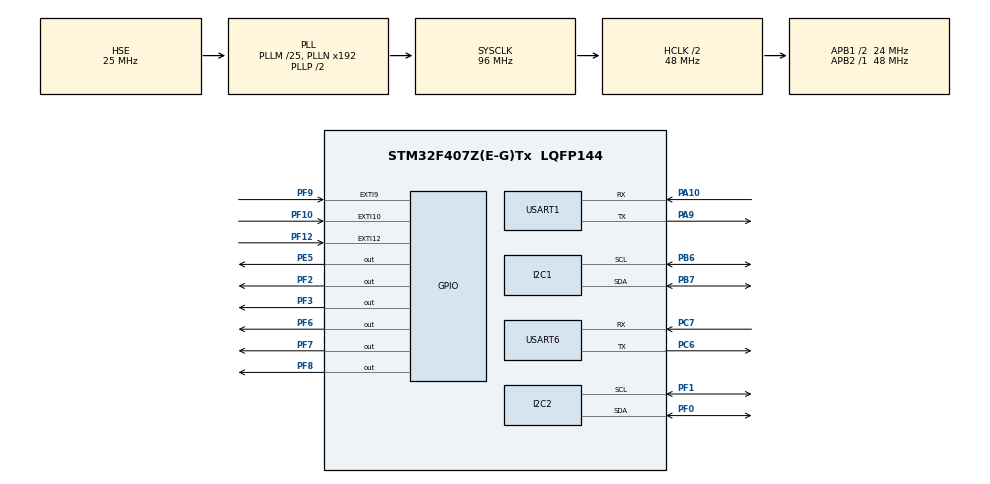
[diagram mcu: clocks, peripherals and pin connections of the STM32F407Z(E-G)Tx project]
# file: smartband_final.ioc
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I2C2.DutyCycle=I2C_DUTYCYCLE_16_9
I2C2.I2C_Mode=I2C_Fast
I2C2.NoStretchMode=I2C_NOSTRETCH_DISABLE
Mcu.Family=STM32F4
Mcu.Name=STM32F407Z(E-G)Tx
Mcu.Package=LQFP144
NVIC.EXTI15_10_IRQn=true\:0\:0\:false\:false\:true\:true\:true
NVIC.EXTI9_5_IRQn=true\:0\:0\:false\:false\:true\:true\:true
NVIC.I2C1_ER_IRQn=true\:0\:0\:true\:false\:true\:true\:true
NVIC.I2C1_EV_IRQn=true\:0\:0\:true\:false\:true\:true\:true
NVIC.I2C2_ER_IRQn=true\:0\:0\:true\:false\:true\:true\:true
NVIC.I2C2_EV_IRQn=true\:0\:0\:true\:false\:true\:true\:true
NVIC.PriorityGroup=NVIC_PRIORITYGROUP_4
NVIC.USART1_IRQn=true\:0\:0\:false\:false\:true\:true\:true
NVIC.USART6_IRQn=true\:0\:0\:false\:false\:true\:true\:true
PA10.Mode=Asynchronous
PA10.Signal=USART1_RX
PA13.Mode=Serial_Wire
PA13.Signal=SYS_JTMS-SWDIO
PA14.Mode=Serial_Wire
PA14.Signal=SYS_JTCK-SWCLK
PA9.Mode=Asynchronous
PA9.Signal=USART1_TX
PB6.Mode=I2C
PB6.Signal=I2C1_SCL
PB7.Mode=I2C
PB7.Signal=I2C1_SDA
PC14-OSC32_IN.Mode=LSE-External-Oscillator
PC14-OSC32_IN.Signal=RCC_OSC32_IN
PC15-OSC32_OUT.Mode=LSE-External-Oscillator
PC15-OSC32_OUT.Signal=RCC_OSC32_OUT
PC6.Mode=Asynchronous
PC6.Signal=USART6_TX
PC7.Mode=Asynchronous
PC7.Signal=USART6_RX
PE5.PinState=GPIO_PIN_SET
PE5.Signal=GPIO_Output
PF0.GPIO_PuPdOD=GPIO_PULLUP
PF0.Mode=I2C
PF0.Signal=I2C2_SDA
PF1.GPIO_PuPdOD=GPIO_PULLUP
PF1.Mode=I2C
PF1.Signal=I2C2_SCL
PF10.GPIO_PuPd=GPIO_PULLUP
PF10.Signal=GPXTI10
PF12.GPIO_ModeDefaultEXTI=GPIO_MODE_IT_FALLING
PF12.Signal=GPXTI12
PF2.GPIO_PuPd=GPIO_PULLDOWN
PF2.Signal=GPIO_Output
PF3.GPIO_ModeDefaultOutputPP=GPIO_MODE_OUTPUT_PP
PF3.PinState=GPIO_PIN_SET
PF3.Signal=GPIO_Output
PF6.GPIO_PuPd=GPIO_PULLUP
PF6.PinState=GPIO_PIN_SET
PF6.Signal=GPIO_Output
PF7.GPIO_PuPd=GPIO_PULLUP
PF7.PinState=GPIO_PIN_SET
PF7.Signal=GPIO_Output
PF8.GPIO_PuPd=GPIO_PULLUP
PF8.PinState=GPIO_PIN_SET
PF8.Signal=GPIO_Output
PF9.GPIO_PuPd=GPIO_PULLUP
PF9.Signal=GPXTI9
PH0-OSC_IN.Mode=HSE-External-Oscillator
PH0-OSC_IN.Signal=RCC_OSC_IN
PH1-OSC_OUT.Mode=HSE-External-Oscillator
PH1-OSC_OUT.Signal=RCC_OSC_OUT
ProjectManager.HeapSize=0x200
ProjectManager.StackSize=0x400
ProjectManager.TargetToolchain=TrueSTUDIO
RCC.48MHZClocksFreq_Value=48000000
RCC.AHBCLKDivider=RCC_SYSCLK_DIV2
RCC.AHBFreq_Value=48000000
RCC.APB1CLKDivider=RCC_HCLK_DIV2
RCC.APB1Freq_Value=24000000
RCC.APB1TimFreq_Value=48000000
RCC.APB2Freq_Value=48000000
RCC.APB2TimFreq_Value=48000000
RCC.CortexFreq_Value=48000000
RCC.HCLKFreq_Value=48000000
RCC.HSE_VALUE=25000000
RCC.HSI_VALUE=16000000
RCC.PLLM=25
RCC.PLLSourceVirtual=RCC_PLLSOURCE_HSE
RCC.SYSCLKFreq_VALUE=96000000
RCC.SYSCLKSource=RCC_SYSCLKSOURCE_PLLCLK
RCC.VCOOutputFreq_Value=192000000
USART1.VirtualMode=VM_ASYNC
USART6.VirtualMode=VM_ASYNC
board=custom

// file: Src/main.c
/* USER CODE BEGIN Header */
/**
  ******************************************************************************
  * @file           : main.c
  * @brief          : Main program body
  ******************************************************************************
  * @attention
  *
  * <h2><center>&copy; Copyright (c) 2019 STMicroelectronics.
  * All rights reserved.</center></h2>
  *
  * This software component is licensed by ST under BSD 3-Clause license,
  * the "License"; You may not use this file except in compliance with the
  * License. You may obtain a copy of the License at:
  *                        opensource.org/licenses/BSD-3-Clause
  *
  ******************************************************************************
  */
/* USER CODE END Header */

#include "main.h"
#include "i2c.h"
#include "usart.h"
#include "gpio.h"

/* USER CODE BEGIN PTD */
#ifdef __GNUC__
#define PUTCHAR_PROTOTYPE int __io_putchar(int ch)
#else
#define PUTCHAR_PROTOTYPE int fputc(int ch, FILE *f)
#endif
PUTCHAR_PROTOTYPE
{

	if('\n' == ch)
	{
		int ch_tmp = '\r';

		HAL_UART_Transmit(&huart1, (uint8_t *)&ch_tmp, 1, 0xFFFF);
	}

	HAL_UART_Transmit(&huart1, (uint8_t *)&ch, 1, 0xFFFF);

	return ch;
}

/* USER CODE END PTD */

/* USER CODE BEGIN PV */
MPU9250_t MPU9250;
float filtered_Az;
TM_AHRSIMU_t IMU;
char UartBuffer[32];
int gyro_onoff = 0;
int hr_flag = 0;
int flag = 0;
int operation = 0;
int fall_flag = 0;
uint32_t tickstart1;
uint32_t tickstart2;
int fflag = 0;

void I2C2_ClearBusyFlagErratum(I2C_HandleTypeDef *instance, I2C_HandleTypeDef* instance2)
{
    GPIO_InitTypeDef GPIO_InitStruct;
	GPIO_InitTypeDef GPIO_InitStruct2;
    int timeout =100;
    int timeout_cnt=0;
    HAL_GPIO_WritePin(GPIOF, GPIO_PIN_2, GPIO_PIN_SET);
    // 1. Clear PE bit.
    instance->Instance->CR1 &= ~(0x0001);
	instance2->Instance->CR1 &= ~(0x0001);
	//HAL_UART_Transmit(&huart1, (uint8_t *)"1\n", strlen("1\n"), 0xFFFF);
    //  2. Configure the SCL and SDA I/Os as General Purpose Output Open-Drain, High level (Write 1 to GPIOx_ODR).
    GPIO_InitStruct.Mode         = GPIO_MODE_OUTPUT_OD;
    GPIO_InitStruct.Alternate    = GPIO_AF4_I2C1;
    GPIO_InitStruct.Pull         = GPIO_PULLUP;
    GPIO_InitStruct.Speed        = GPIO_SPEED_FREQ_HIGH;
	GPIO_InitStruct2.Mode         = GPIO_MODE_OUTPUT_OD;
    GPIO_InitStruct2.Alternate    = GPIO_AF4_I2C2;
    GPIO_InitStruct2.Pull         = GPIO_PULLUP;
    GPIO_InitStruct2.Speed        = GPIO_SPEED_FREQ_HIGH;

    GPIO_InitStruct.Pin          = I2C1_SCL_PIN;
    HAL_GPIO_Init(I2C1_SCL_PORT, &GPIO_InitStruct);
    HAL_GPIO_WritePin(I2C1_SCL_PORT, I2C1_SCL_PIN, GPIO_PIN_SET);
    GPIO_InitStruct.Pin          = I2C1_SDA_PIN;
    HAL_GPIO_Init(I2C1_SDA_PORT, &GPIO_InitStruct);
    HAL_GPIO_WritePin(I2C1_SDA_PORT, I2C1_SDA_PIN, GPIO_PIN_SET);
    GPIO_InitStruct2.Pin          = I2C2_SCL_PIN;
    HAL_GPIO_Init(I2C2_SCL_PORT, &GPIO_InitStruct2);
    HAL_GPIO_WritePin(I2C2_SCL_PORT, I2C2_SCL_PIN, GPIO_PIN_SET);
    GPIO_InitStruct2.Pin          = I2C2_SDA_PIN;
    HAL_GPIO_Init(I2C2_SDA_PORT, &GPIO_InitStruct2);
    HAL_GPIO_WritePin(I2C2_SDA_PORT, I2C2_SDA_PIN, GPIO_PIN_SET);

    //HAL_UART_Transmit(&huart1, (uint8_t *)"2\n", strlen("1\n"), 0xFFFF);
    // 3. Check SCL and SDA High level in GPIOx_IDR.
    while (GPIO_PIN_SET != HAL_GPIO_ReadPin(I2C1_SCL_PORT, I2C1_SCL_PIN))
    {
        timeout_cnt++;
        if(timeout_cnt>timeout)
            return;
    }
	while (GPIO_PIN_SET != HAL_GPIO_ReadPin(I2C2_SCL_PORT, I2C2_SCL_PIN))
    {
        timeout_cnt++;
        if(timeout_cnt>timeout)
            return;
    }

    while (GPIO_PIN_SET != HAL_GPIO_ReadPin(I2C1_SDA_PORT, I2C1_SDA_PIN))
    {
        //Move clock to release I2C
        HAL_GPIO_WritePin(I2C1_SCL_PORT, I2C1_SCL_PIN, GPIO_PIN_RESET);
        asm("nop");
        HAL_GPIO_WritePin(I2C1_SCL_PORT, I2C1_SCL_PIN, GPIO_PIN_SET);

        timeout_cnt++;
        if(timeout_cnt>timeout)
            return;
    }
    while (GPIO_PIN_SET != HAL_GPIO_ReadPin(I2C2_SDA_PORT, I2C2_SDA_PIN))
    {
        //Move clock to release I2C
        HAL_GPIO_WritePin(I2C2_SCL_PORT, I2C2_SCL_PIN, GPIO_PIN_RESET);
        asm("nop");
        HAL_GPIO_WritePin(I2C2_SCL_PORT, I2C2_SCL_PIN, GPIO_PIN_SET);

        timeout_cnt++;
        if(timeout_cnt>timeout)
            return;
    }
    //HAL_UART_Transmit(&huart1, (uint8_t *)"3\n", strlen("1\n"), 0xFFFF);
    // 4. Configure the SDA I/O as General Purpose Output Open-Drain, Low level (Write 0 to GPIOx_ODR).
    HAL_GPIO_WritePin(I2C1_SDA_PORT, I2C1_SDA_PIN, GPIO_PIN_RESET);
	HAL_GPIO_WritePin(I2C2_SDA_PORT, I2C2_SDA_PIN, GPIO_PIN_RESET);
	//HAL_UART_Transmit(&huart1, (uint8_t *)"4\n", strlen("1\n"), 0xFFFF);
    //  5. Check SDA Low level in GPIOx_IDR.
    while (GPIO_PIN_RESET != HAL_GPIO_ReadPin(I2C1_SDA_PORT, I2C1_SDA_PIN))
    {
        timeout_cnt++;
        if(timeout_cnt>timeout)
            return;
    }
	while (GPIO_PIN_RESET != HAL_GPIO_ReadPin(I2C2_SDA_PORT, I2C2_SDA_PIN))
    {
        timeout_cnt++;
        if(timeout_cnt>timeout)
            return;
    }
    //HAL_UART_Transmit(&huart1, (uint8_t *)"5\n", strlen("1\n"), 0xFFFF);
    // 6. Configure the SCL I/O as General Purpose Output Open-Drain, Low level (Write 0 to GPIOx_ODR).
    HAL_GPIO_WritePin(I2C1_SCL_PORT, I2C1_SCL_PIN, GPIO_PIN_RESET);
	HAL_GPIO_WritePin(I2C2_SCL_PORT, I2C2_SCL_PIN, GPIO_PIN_RESET);
	//HAL_UART_Transmit(&huart1, (uint8_t *)"6\n", strlen("1\n"), 0xFFFF);
    //  7. Check SCL Low level in GPIOx_IDR.
    while (GPIO_PIN_RESET != HAL_GPIO_ReadPin(I2C1_SCL_PORT, I2C1_SCL_PIN))
    {
        timeout_cnt++;
        if(timeout_cnt>timeout)
            return;
    }
    while (GPIO_PIN_RESET != HAL_GPIO_ReadPin(I2C2_SCL_PORT, I2C2_SCL_PIN))
    {
        timeout_cnt++;
        if(timeout_cnt>timeout)
            return;
    }
    //HAL_UART_Transmit(&huart1, (uint8_t *)"7\n", strlen("1\n"), 0xFFFF);
    // 8. Configure the SCL I/O as General Purpose Output Open-Drain, High level (Write 1 to GPIOx_ODR).
    HAL_GPIO_WritePin(I2C1_SCL_PORT, I2C1_SCL_PIN, GPIO_PIN_SET);
	HAL_GPIO_WritePin(I2C2_SCL_PORT, I2C2_SCL_PIN, GPIO_PIN_SET);
	//HAL_UART_Transmit(&huart1, (uint8_t *)"8\n", strlen("1\n"), 0xFFFF);
    // 9. Check SCL High level in GPIOx_IDR.
    while (GPIO_PIN_SET != HAL_GPIO_ReadPin(I2C1_SCL_PORT, I2C1_SCL_PIN))
    {
        timeout_cnt++;
        if(timeout_cnt>timeout)
            return;
    }
    while (GPIO_PIN_SET != HAL_GPIO_ReadPin(I2C2_SCL_PORT, I2C2_SCL_PIN))
    {
        timeout_cnt++;
        if(timeout_cnt>timeout)
            return;
    }
    //HAL_UART_Transmit(&huart1, (uint8_t *)"9\n", strlen("1\n"), 0xFFFF);
    // 10. Configure the SDA I/O as General Purpose Output Open-Drain , High level (Write 1 to GPIOx_ODR).
    HAL_GPIO_WritePin(I2C1_SDA_PORT, I2C1_SDA_PIN, GPIO_PIN_SET);
	HAL_GPIO_WritePin(I2C2_SDA_PORT, I2C2_SDA_PIN, GPIO_PIN_SET);
	//HAL_UART_Transmit(&huart1, (uint8_t *)"10\n", strlen("10\n"), 0xFFFF);
    // 11. Check SDA High level in GPIOx_IDR.

	/*
    while (GPIO_PIN_SET != HAL_GPIO_ReadPin(I2C1_SDA_PORT, I2C1_SDA_PIN))
    {
        timeout_cnt++;
        if(timeout_cnt>timeout){
        	return;
        }
    }
    while (GPIO_PIN_SET != HAL_GPIO_ReadPin(I2C2_SDA_PORT, I2C2_SDA_PIN))
    {
        timeout_cnt++;
        if(timeout_cnt>timeout){
            printf("timeout\n");
        	return;
        }
    }*/

    while (GPIO_PIN_SET != HAL_GPIO_ReadPin(I2C1_SDA_PORT, I2C1_SDA_PIN))
    {
        //Move clock to release I2C
        HAL_GPIO_WritePin(I2C1_SCL_PORT, I2C1_SCL_PIN, GPIO_PIN_RESET);
        asm("nop");
        HAL_GPIO_WritePin(I2C1_SCL_PORT, I2C1_SCL_PIN, GPIO_PIN_SET);

        timeout_cnt++;
        if(timeout_cnt>timeout)
            return;
    }
    while (GPIO_PIN_SET != HAL_GPIO_ReadPin(I2C2_SDA_PORT, I2C2_SDA_PIN))
    {
        //Move clock to release I2C
        HAL_GPIO_WritePin(I2C2_SCL_PORT, I2C2_SCL_PIN, GPIO_PIN_RESET);
        asm("nop");
        HAL_GPIO_WritePin(I2C2_SCL_PORT, I2C2_SCL_PIN, GPIO_PIN_SET);

        timeout_cnt++;
        if(timeout_cnt>timeout)
            return;
    }

    //HAL_UART_Transmit(&huart1, (uint8_t *)"11\n", strlen("10\n"), 0xFFFF);
    // 12. Configure the SCL and SDA I/Os as Alternate function Open-Drain.
    GPIO_InitStruct.Mode = GPIO_MODE_AF_OD;
    GPIO_InitStruct.Pull = GPIO_PULLUP;
    GPIO_InitStruct.Speed = GPIO_SPEED_FREQ_LOW;
    GPIO_InitStruct.Alternate = GPIO_AF4_I2C1;
	GPIO_InitStruct2.Mode = GPIO_MODE_AF_OD;
    GPIO_InitStruct2.Pull = GPIO_PULLUP;
    GPIO_InitStruct2.Speed = GPIO_SPEED_FREQ_LOW;
    GPIO_InitStruct2.Alternate = GPIO_AF4_I2C2;

    GPIO_InitStruct.Pin = I2C1_SCL_PIN;
    HAL_GPIO_Init(I2C1_SCL_PORT, &GPIO_InitStruct);
    GPIO_InitStruct.Pin = I2C1_SDA_PIN;
    HAL_GPIO_Init(I2C1_SDA_PORT, &GPIO_InitStruct);
	GPIO_InitStruct2.Pin = I2C2_SCL_PIN;
    HAL_GPIO_Init(I2C2_SCL_PORT, &GPIO_InitStruct2);
    GPIO_InitStruct2.Pin = I2C2_SDA_PIN;
    HAL_GPIO_Init(I2C2_SDA_PORT, &GPIO_InitStruct2);

    HAL_GPIO_WritePin(I2C1_SCL_PORT, I2C1_SCL_PIN, GPIO_PIN_SET);
    HAL_GPIO_WritePin(I2C1_SDA_PORT, I2C1_SDA_PIN, GPIO_PIN_SET);
	HAL_GPIO_WritePin(I2C2_SCL_PORT, I2C2_SCL_PIN, GPIO_PIN_SET);
    HAL_GPIO_WritePin(I2C2_SDA_PORT, I2C2_SDA_PIN, GPIO_PIN_SET);
    //HAL_UART_Transmit(&huart1, (uint8_t *)"12\n", strlen("10\n"), 0xFFFF);
    // 13. Set SWRST bit in I2Cx_CR1 register.
    instance->Instance->CR1 |= 0x8000;
	instance2->Instance->CR1 |= 0x8000;
    asm("nop");
    //HAL_UART_Transmit(&huart1, (uint8_t *)"13\n", strlen("10\n"), 0xFFFF);
    // 14. Clear SWRST bit in I2Cx_CR1 register.
    instance->Instance->CR1 &= ~0x8000;
	instance2->Instance->CR1 &= ~0x8000;
    asm("nop");
    //HAL_UART_Transmit(&huart1, (uint8_t *)"14\n", strlen("10\n"), 0xFFFF);
    // 15. Enable the I2C peripheral by setting the PE bit in I2Cx_CR1 register
    instance->Instance->CR1 |= 0x0001;
	instance2->Instance->CR1 |= 0x0001;
	//HAL_UART_Transmit(&huart1, (uint8_t *)"15\n", strlen("10\n"), 0xFFFF);
    // Call initialization function.
    HAL_I2C_Init(instance);
	HAL_I2C_Init(instance2);

	HAL_GPIO_WritePin(GPIOF, GPIO_PIN_6 | GPIO_PIN_7 | GPIO_PIN_8, GPIO_PIN_SET);
	if(gyro_onoff)
		HAL_GPIO_WritePin(GPIOF, GPIO_PIN_6, GPIO_PIN_RESET);
	if(hr_flag)
		HAL_GPIO_WritePin(GPIOF, GPIO_PIN_7, GPIO_PIN_RESET);
	if(fall_flag)
		HAL_GPIO_WritePin(GPIOF, GPIO_PIN_8, GPIO_PIN_RESET);
	HAL_GPIO_WritePin(GPIOF, GPIO_PIN_2, GPIO_PIN_RESET);
}
/* USER CODE END PV */

void SystemClock_Config(void);

int main(void)
{
  /* USER CODE BEGIN 1 */
	int hr, hr_count = 0;
	int sum_hr = 0;
	int avr_hr = 0;
	char tx_test[100];
	char uartbuff[20];

  /* USER CODE END 1 */

  /* MCU Configuration--------------------------------------------------------*/

  /* Reset of all peripherals, Initializes the Flash interface and the Systick. */
  HAL_Init();

  /* Configure the system clock */
  SystemClock_Config();

  /* Initialize all configured peripherals */
  MX_GPIO_Init();
  MX_I2C1_Init();
  MX_I2C2_Init();
  MX_USART1_UART_Init();
  MX_USART6_UART_Init();
  /* USER CODE BEGIN 2 */

  HAL_GPIO_WritePin(GPIOE, GPIO_PIN_5, GPIO_PIN_SET);
  if(HAL_UART_Receive_IT(&huart1, g_Uart_RxBuffer, UART_RXBUFFERSIZE) != HAL_OK)
  {
      Error_Handler();

  }
  if(HAL_UART_Receive_IT(&huart6, g_Uart_6_Com_RxBuffer, UART_RXBUFFERSIZE) != HAL_OK)
  {
      Error_Handler();

  }
  HAL_UART_Transmit(&huart6, (uint8_t *)"test\n", strlen("test\n"), 0xFFFF);

#if 1 ////GYRO////
	if (MPU9250_Init(&hi2c2, &MPU9250, MPU9250_Device_0) != MPU9250_Result_Ok) {
		printf("Device error!\r\n");
		HAL_GPIO_WritePin(GPIOF, GPIO_PIN_6 | GPIO_PIN_7 | GPIO_PIN_8, GPIO_PIN_RESET);
		while(MPU9250_Init(&hi2c2, &MPU9250, MPU9250_Device_0) != MPU9250_Result_Ok){
			HAL_GPIO_WritePin(GPIOF, GPIO_PIN_6 | GPIO_PIN_7 | GPIO_PIN_8, GPIO_PIN_RESET);
			I2C2_ClearBusyFlagErratum(&hi2c1, &hi2c2);
		}
	}
	TM_AHRSIMU_Init(&IMU, 1000, 0.5, 0);
#endif ////GYRO////

#if 1 ////HEART RATE////
	if(Max30102_Init(&hi2c1) != MAX30102_OK){
		//printf("MAX30102 error\r\n");
		HAL_GPIO_WritePin(GPIOF, GPIO_PIN_6 | GPIO_PIN_7 | GPIO_PIN_8, GPIO_PIN_RESET);
		I2C2_ClearBusyFlagErratum(&hi2c1, &hi2c2);
		Max30102_Init(&hi2c1);
	}
#endif ////HEART RATE////

	printf("START\n");

  /* USER CODE END 2 */

  /* Infinite loop */
  /* USER CODE BEGIN WHILE */
	while (1)
	{
		UART6_Test();
#if 1
		if (MPU9250_DataReady(&hi2c2, &MPU9250) == MPU9250_Result_Ok) {
			MPU9250_ReadAcce(&hi2c2, &MPU9250);
			MPU9250_ReadGyro(&hi2c2, &MPU9250);
			MPU9250_ReadMag(&hi2c2, &MPU9250);
		}
		else{
			do{
				printf("MPU9250_Result_Error\n");
				HAL_GPIO_WritePin(GPIOF, GPIO_PIN_6 | GPIO_PIN_8, GPIO_PIN_RESET);
				I2C2_ClearBusyFlagErratum(&hi2c1, &hi2c2);
			}while(MPU9250_Init(&hi2c2, &MPU9250, MPU9250_Device_0) != MPU9250_Result_Ok);

		}
		TM_AHRSIMU_UpdateIMU(&IMU, MPU9250.Gx, MPU9250.Gy, MPU9250.Gz, MPU9250.Ax, MPU9250.Ay, MPU9250.Az);
#endif

#if 1 ////GYRO////
		if(gyro_onoff) {
			sprintf(tx_test, "[%d,%.0f,%.0f\n", flag, IMU.Roll, IMU.Pitch);
			if(flag == 1){
				HAL_UART_Transmit(&huart6, (uint8_t *)tx_test, strlen(tx_test), 0xFFFF);
			}
		} else
		{
			double SMV = sqrt(MPU9250.Ax * MPU9250.Ax + MPU9250.Ay * MPU9250.Ay + MPU9250.Az * MPU9250.Az);
			if(fall_flag && SMV > 1.4){
				HAL_GPIO_WritePin(GPIOF, GPIO_PIN_8, GPIO_PIN_SET);
				printf("fall flag zero\n");
				fall_flag = 0;
				HAL_Delay(1000);
			}
			if(SMV > 3.4) {
				HAL_GPIO_WritePin(GPIOF, GPIO_PIN_8, GPIO_PIN_RESET);
				printf("SMV 3.4\n");
				tickstart2 = HAL_GetTick();
				fall_flag = 1;
				HAL_Delay(1000);
			}
			if(fall_flag && (HAL_GetTick() - tickstart2) >= 10000)
			{
				printf("fall detected\n");
				fall_flag = 0;
				HAL_GPIO_WritePin(GPIOF, GPIO_PIN_2, GPIO_PIN_SET);
				HAL_Delay(1000);
				HAL_GPIO_WritePin(GPIOF, GPIO_PIN_2, GPIO_PIN_RESET);
				HAL_GPIO_WritePin(GPIOF, GPIO_PIN_8, GPIO_PIN_SET);

				sprintf(uartbuff, "@");
				HAL_UART_Transmit(&huart1, (uint8_t *)uartbuff, strlen(uartbuff), 0xFFFF);
			}
			if(fflag == 1){
				sprintf(tx_test, "[%d,0,0\n", flag);
				HAL_UART_Transmit(&huart6, (uint8_t *)tx_test, strlen(tx_test), 0xFFFF);
				fflag = 0;
			}
		}
#endif ////GYRO////

#if 1 ////HEART RATE////
		if(hr_flag){
			Max30102_Task();
			hr = (int)Max30102_GetHeartRate();

			if(40 < hr && hr < 130) {
				sum_hr += hr;
				hr_count++;
			}
			if((HAL_GetTick() - tickstart1) >= 10000)
			{
				avr_hr = sum_hr / hr_count;
				//sprintf(tx_test, "Heart Rate : %d bpm \r\n", avr_hr);
				sprintf(uartbuff, "<%d>", avr_hr);
				//HAL_UART_Transmit(&huart1, (uint8_t *)tx_test, strlen(tx_test), 0xFFFF);
				HAL_UART_Transmit(&huart1, (uint8_t *)uartbuff, strlen(uartbuff), 0xFFFF);
				HAL_GPIO_WritePin(GPIOF, GPIO_PIN_7, GPIO_PIN_SET);
				hr_flag = 0;
			}

		}
#endif ////HEART RATE////
    /* USER CODE END WHILE */

  }
}

void SystemClock_Config(void)
{
  RCC_OscInitTypeDef RCC_OscInitStruct = {0};
  RCC_ClkInitTypeDef RCC_ClkInitStruct = {0};

  /** Configure the main internal regulator output voltage
  */
  __HAL_RCC_PWR_CLK_ENABLE();
  __HAL_PWR_VOLTAGESCALING_CONFIG(PWR_REGULATOR_VOLTAGE_SCALE1);
  /** Initializes the CPU, AHB and APB busses clocks
  */
  RCC_OscInitStruct.OscillatorType = RCC_OSCILLATORTYPE_HSE;
  RCC_OscInitStruct.HSEState = RCC_HSE_ON;
  RCC_OscInitStruct.PLL.PLLState = RCC_PLL_ON;
  RCC_OscInitStruct.PLL.PLLSource = RCC_PLLSOURCE_HSE;
  RCC_OscInitStruct.PLL.PLLM = 25;
  RCC_OscInitStruct.PLL.PLLN = 192;
  RCC_OscInitStruct.PLL.PLLP = RCC_PLLP_DIV2;
  RCC_OscInitStruct.PLL.PLLQ = 4;
  if (HAL_RCC_OscConfig(&RCC_OscInitStruct) != HAL_OK)
  {
    Error_Handler();
  }
  /** Initializes the CPU, AHB and APB busses clocks
  */
  RCC_ClkInitStruct.ClockType = RCC_CLOCKTYPE_HCLK|RCC_CLOCKTYPE_SYSCLK
                              |RCC_CLOCKTYPE_PCLK1|RCC_CLOCKTYPE_PCLK2;
  RCC_ClkInitStruct.SYSCLKSource = RCC_SYSCLKSOURCE_PLLCLK;
  RCC_ClkInitStruct.AHBCLKDivider = RCC_SYSCLK_DIV2;
  RCC_ClkInitStruct.APB1CLKDivider = RCC_HCLK_DIV2;
  RCC_ClkInitStruct.APB2CLKDivider = RCC_HCLK_DIV1;

  if (HAL_RCC_ClockConfig(&RCC_ClkInitStruct, FLASH_LATENCY_1) != HAL_OK)
  {
    Error_Handler();
  }
}

/* USER CODE BEGIN 4 */

void HAL_GPIO_EXTI_Callback(uint16_t GPIO_Pin) {
	if (GPIO_Pin == GPIO_PIN_12) {
		Max30102_InterruptCallback();
	}
	else if(GPIO_Pin == GPIO_PIN_9) {
		if(gyro_onoff){
			gyro_onoff = 0;
			flag = 3;
			fflag = 1;
			/*
			sprintf(tx_test, "[%d,0,0\n", flag);
			HAL_UART_Transmit(&huart6, (uint8_t *)tx_test, strlen(tx_test), 0xFFFF);
			HAL_UART_Transmit(&huart1, (uint8_t *)tx_test, strlen(tx_test), 0xFFFF);
			printf("\n");
			*/
			HAL_GPIO_WritePin(GPIOF, GPIO_PIN_6, GPIO_PIN_SET);
		} else {
			gyro_onoff = 1;
			flag = 1;
			HAL_GPIO_WritePin(GPIOF, GPIO_PIN_6, GPIO_PIN_RESET);
		}
	}
	else if(GPIO_Pin == GPIO_PIN_10) {
		//flag = 2;
		printf("wait 10 sec...\n");
		hr_flag = 1;
		HAL_GPIO_WritePin(GPIOF, GPIO_PIN_7, GPIO_PIN_RESET);
		tickstart1 = HAL_GetTick();
	}
}

I2C_Result_t I2C_Write(I2C_HandleTypeDef* hi2c, uint8_t device_address, uint8_t register_address, uint8_t data) {
	uint8_t d[2];

	/* Format array to send */
	d[0] = register_address;
	d[1] = data;

	/* Try to transmit via I2C */
	if (HAL_I2C_Master_Transmit(hi2c, (uint16_t)device_address, (uint8_t *)d, 2, 1000) != HAL_OK) {
		/* Check error */
		if (HAL_I2C_GetError(hi2c) != HAL_I2C_ERROR_AF) {

		}
		/* Return error */
		return I2C_Result_Error;
	}

	/* Return OK */
	return I2C_Result_Ok;
}

I2C_Result_t I2C_ReadMulti(I2C_HandleTypeDef* hi2c, uint8_t device_address, uint8_t register_address, uint8_t* data, uint16_t count) {

	if (HAL_I2C_Master_Transmit(hi2c, (uint16_t)device_address, &register_address, 1, 0xffff) != HAL_OK) {
		/* Check error */
		if (HAL_I2C_GetError(hi2c) != HAL_I2C_ERROR_AF) {

		}
		if(HAL_I2C_GetError(hi2c) == HAL_I2C_ERROR_TIMEOUT)

		/* Return error */
		return I2C_Result_Error;
	}

	/* Receive multiple byte */
	if (HAL_I2C_Master_Receive(hi2c, device_address, data, count, 1000) != HAL_OK) {
		/* Check error */
		if (HAL_I2C_GetError(hi2c) != HAL_I2C_ERROR_AF) {

		}

		/* Return error */
		return I2C_Result_Error;
	}

	/* Return OK */
	return I2C_Result_Ok;
}

/* USER CODE END 4 */

void Error_Handler(void)
{
}

/************************ (C) COPYRIGHT STMicroelectronics *****END OF FILE****/
